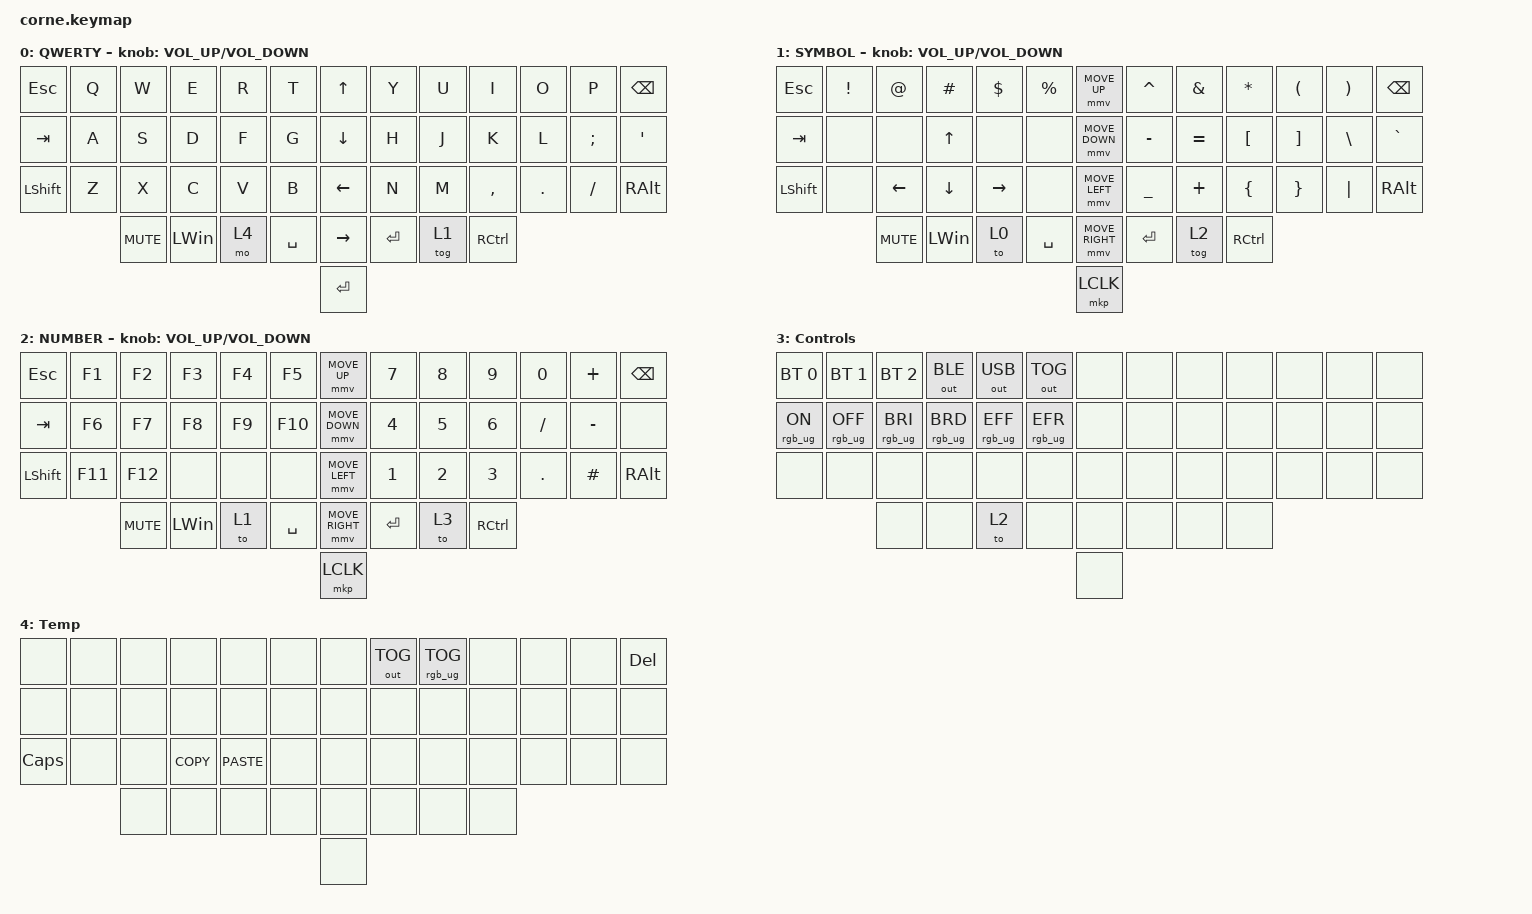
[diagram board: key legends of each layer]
#include <behaviors/mouse_keys.dtsi>
#include <dt-bindings/zmk/mouse.h>
#include <behaviors.dtsi>
#include <dt-bindings/zmk/bt.h>
#include <dt-bindings/zmk/keys.h>
#include <dt-bindings/zmk/outputs.h>
#include <dt-bindings/zmk/pointing.h>
#include <dt-bindings/zmk/pointing.h>
#include <dt-bindings/zmk/pointing.h>
#include <dt-bindings/zmk/rgb.h>

#define ZMK_MOUSE_DEFAULT_MOVE_VAL 1200  // 600
#define ZMK_MOUSE_DEFAULT_SCRL_VAL 20    // 10
#define U_MS_U &mmv MOVE_UP
#define U_MS_D &mmv MOVE_DOWN
#define U_MS_L &mmv MOVE_LEFT
#define U_MS_R &mmv MOVE_RIGHT

/ {
    behaviors {
        td0: td0 {
            compatible = "zmk,behavior-tap-dance";
            label = "TD0";
            #binding-cells = <0>;
            bindings = <&kp LEFT_SHIFT>, <&kp CAPS>;
        };

        mmv {
            acceleration-exponent = <1>;      // 1
            time-to-max-speed-ms = <900>;    // 40
            delay-ms = <0>;                   // 0
        };

        msc {
            acceleration-exponent = <1>;      // 0
            time-to-max-speed-ms = <400>;      // 500
            delay-ms = <0>;                   // 10
        };
    };

    rgb_encoder: rgb_encoder {
        compatible = "zmk,behavior-sensor-rotate";
        label = "RGB_ENCODER";
        #sensor-binding-cells = <0>;
        bindings = <&rgb_ug RGB_BRI>, <&rgb_ug RGB_BRD>;
    };

    scroll_encoder: scroll_encoder {
        compatible = "zmk,behavior-sensor-rotate";
        #sensor-binding-cells = <0>;
        bindings = <&msc SCRL_DOWN>, <&msc SCRL_UP>;

        tap-ms = <30>;
    };

    keymap {
        compatible = "zmk,keymap";

        Main {
            display-name = "QWERTY";

            // --------------------------------------------------------------------------------
            // |  TAB |  Q  |  W  |  E  |  R  |  T  |                ↑    |  Y  |  U   |  I  |  O  |  P  | BKSP |      &kp UP_ARROW 
            // | SHIFT |  A  |  S  |  D  |  F  |  G  |               ↓    |  H  |  J   |  K  |  L  |  ;  |  '   | 
            // | CTRL |  Z  |  X  |  C  |  V  |  B  |                ←    |  N  |  M   |  ,  |  .  |  /  | ESC  |
            //                    | GUI | LWR | SPC |                →    | ENT | RSE  | ALT |
            //                                                      enter

            bindings = <
&kp ESC         &kp Q  &kp W       &kp E         &kp R  &kp T        &kp UP_ARROW     &kp Y      &kp U   &kp I              &kp O    &kp P     &kp BSPC
&kp TAB         &kp A  &kp S       &kp D         &kp F  &kp G        &kp DOWN_ARROW   &kp H      &kp J   &kp K              &kp L    &kp SEMI  &kp SQT
&kp LEFT_SHIFT  &kp Z  &kp X       &kp C         &kp V  &kp B        &kp LEFT_ARROW   &kp N      &kp M   &kp COMMA          &kp DOT  &kp FSLH  &kp RIGHT_ALT
                       &kp K_MUTE  &kp LEFT_WIN  &mo 4  &kp SPACE    &kp RIGHT_ARROW  &kp ENTER  &tog 1  &kp RIGHT_CONTROL
                                                                     &kp ENTER
            >;

            label = "QWERTY";
            sensor-bindings = <&inc_dec_kp C_VOLUME_UP C_VOLUME_DOWN>;
        };

        Symbols {
            display-name = "SYMBOL";

            // -----------------------------------------------------------------------------------------
            // |  TAB |  !  |  @  |  #  |  $  |  %  |   |  ^  |  &  |  *  |  (  |  )  | BKSP |
            // | CTRL |     |     |     |     |     |   |  -  |  =  |  [  |  ]  |  \  |  `   |
            // | SHFT |     |     |     |     |     |   |  _  |  +  |  {  |  }  | "|" |  ~   |
            //                    | GUI |     | SPC |   | ENT |     | ALT |

            bindings = <
&kp ESCAPE      &kp EXCL  &kp AT          &kp HASH        &kp DLLR         &kp PRCNT    &mmv MOVE_UP     &kp CARET  &kp AMPS   &kp ASTRK          &kp LPAR  &kp RPAR  &kp BACKSPACE
&kp TAB         &none     &none           &kp UP_ARROW    &none            &none        &mmv MOVE_DOWN   &kp MINUS  &kp EQUAL  &kp LBKT           &kp RBKT  &kp BSLH  &kp GRAVE
&kp LEFT_SHIFT  &none     &kp LEFT_ARROW  &kp DOWN_ARROW  &kp RIGHT_ARROW  &none        &mmv MOVE_LEFT   &kp UNDER  &kp PLUS   &kp LBRC           &kp RBRC  &kp PIPE  &kp RIGHT_ALT
                          &kp K_MUTE      &kp LEFT_WIN    &to 0            &kp SPACE    &mmv MOVE_RIGHT  &kp RET    &tog 2     &kp RIGHT_CONTROL
                                                                                        &mkp LCLK
            >;

            label = "SYMBOL";
            sensor-bindings = <&inc_dec_kp C_VOLUME_UP C_VOLUME_DOWN>;
        };

        Numbers {
            display-name = "NUMBER";

            // -----------------------------------------------------------------------------------------
            // |  TAB |  1  |  2  |  3  |  4  |  5  |   |  6  |  7  |  8  |  9  |  0  | BKSP |
            // | BTCLR| BT1 | BT2 | BT3 | BT4 | BT5 |   | LFT | DWN |  UP | RGT |     |      |
            // | SHFT |     |     |     |     |     |   |     |     |     |     |     |      |
            //                    | GUI |     | SPC |   | ENT |     | ALT |

            bindings = <
&kp ESC         &kp F1   &kp F2      &kp F3        &kp F4  &kp F5       &mmv MOVE_UP     &kp N7     &kp N8  &kp N9             &kp N0      &kp PLUS   &kp BSPC
&kp TAB         &kp F6   &kp F7      &kp F8        &kp F9  &kp F10      &mmv MOVE_DOWN   &kp N4     &kp N5  &kp N6             &kp SLASH   &kp MINUS  &none
&kp LEFT_SHIFT  &kp F11  &kp F12     &none         &none   &none        &mmv MOVE_LEFT   &kp N1     &kp N2  &kp N3             &kp PERIOD  &kp HASH   &kp RIGHT_ALT
                         &kp K_MUTE  &kp LEFT_WIN  &to 1   &kp SPACE    &mmv MOVE_RIGHT  &kp ENTER  &to 3   &kp RIGHT_CONTROL
                                                                        &mkp LCLK
            >;

            label = "NUMBER";
            sensor-bindings = <&inc_dec_kp C_VOL_UP C_VOLUME_DOWN>;
        };

        Controls {
            bindings = <
&bt BT_SEL 0    &bt BT_SEL 1     &bt BT_SEL 2     &out OUT_BLE     &out OUT_USB     &out OUT_TOG       &none  &none  &none  &none  &none  &none  &none
&rgb_ug RGB_ON  &rgb_ug RGB_OFF  &rgb_ug RGB_BRI  &rgb_ug RGB_BRD  &rgb_ug RGB_EFF  &rgb_ug RGB_EFR    &none  &none  &none  &none  &none  &none  &none
&none           &none            &none            &none            &none            &none              &none  &none  &none  &none  &none  &none  &none
                                 &none            &none            &to 2            &none              &none  &none  &none  &none
                                                                                                       &none
            >;
        };

        Temp {
            bindings = <
&none         &none  &none  &none       &none        &none    &none  &out OUT_TOG  &rgb_ug RGB_TOG  &none  &none  &none  &kp DELETE
&none         &none  &none  &none       &none        &none    &none  &none         &none            &none  &none  &none  &none
&kp CAPSLOCK  &none  &none  &kp K_COPY  &kp K_PASTE  &none    &none  &none         &none            &none  &none  &none  &none
                     &none  &none       &none        &none    &none  &none         &none            &none
                                                              &none
            >;
        };
    };
};
